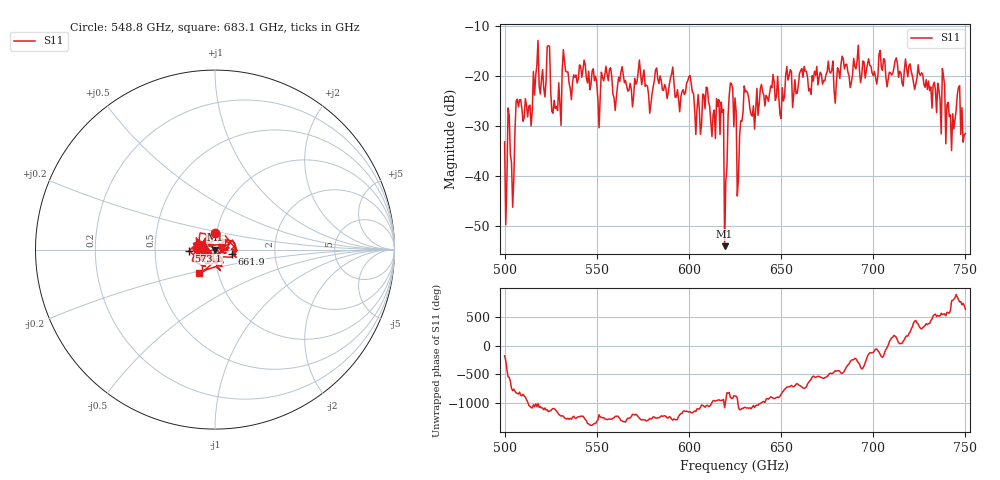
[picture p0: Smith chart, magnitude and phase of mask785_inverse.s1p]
!Created with skrf (http://scikit-rf.org).
# GHz S MA R 50.0
!freq magS11 angS11
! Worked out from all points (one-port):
!   401 points, 500 GHz to 750 GHz, reference 50 ohm
!   lowest |S11| = -54.0 dB at 619.4 GHz (marker M1), VSWR 1.00, Z = 50.2 + j0.0105 ohm
!   |S11| at or under -10 dB: start of sweep to end of sweep
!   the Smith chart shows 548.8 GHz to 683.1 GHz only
!   S11 on the Smith chart (normalised r, x): 548.8 GHz: 0.98, +0.18; 573.1 GHz: 0.75, -0.01; 661.9 GHz: 1.21, -0.06; 683.1 GHz: 0.81, -0.22
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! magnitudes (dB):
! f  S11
! 500 GHz  -33.2
! 504.4 GHz  -46.2
! 507.5 GHz  -26.2
! 513.8 GHz  -25.8
! 516.9 GHz  -19.9
! 523.8 GHz  -13.9
! 526.9 GHz  -24.8
! 531.2 GHz  -18.8
! 548.8 GHz  -20.9
! 562.5 GHz  -21.1
! 573.1 GHz  -16.8
! 593.8 GHz  -22.7
! 616.2 GHz  -24.7
! 619.4 GHz  -54.0
! 620.6 GHz  -38.4
! 622.5 GHz  -21.4
! 625 GHz  -24.4
! 627.5 GHz  -32.0
! 631.2 GHz  -23.0
! 635 GHz  -25.9
! 656.2 GHz  -26.3
! 661.9 GHz  -20.2
! 683.1 GHz  -16.0
! 687.5 GHz  -22.3
! 718.8 GHz  -20.1
! 742.5 GHz  -34.9
! 746.9 GHz  -21.9
! 750 GHz  -31.5
